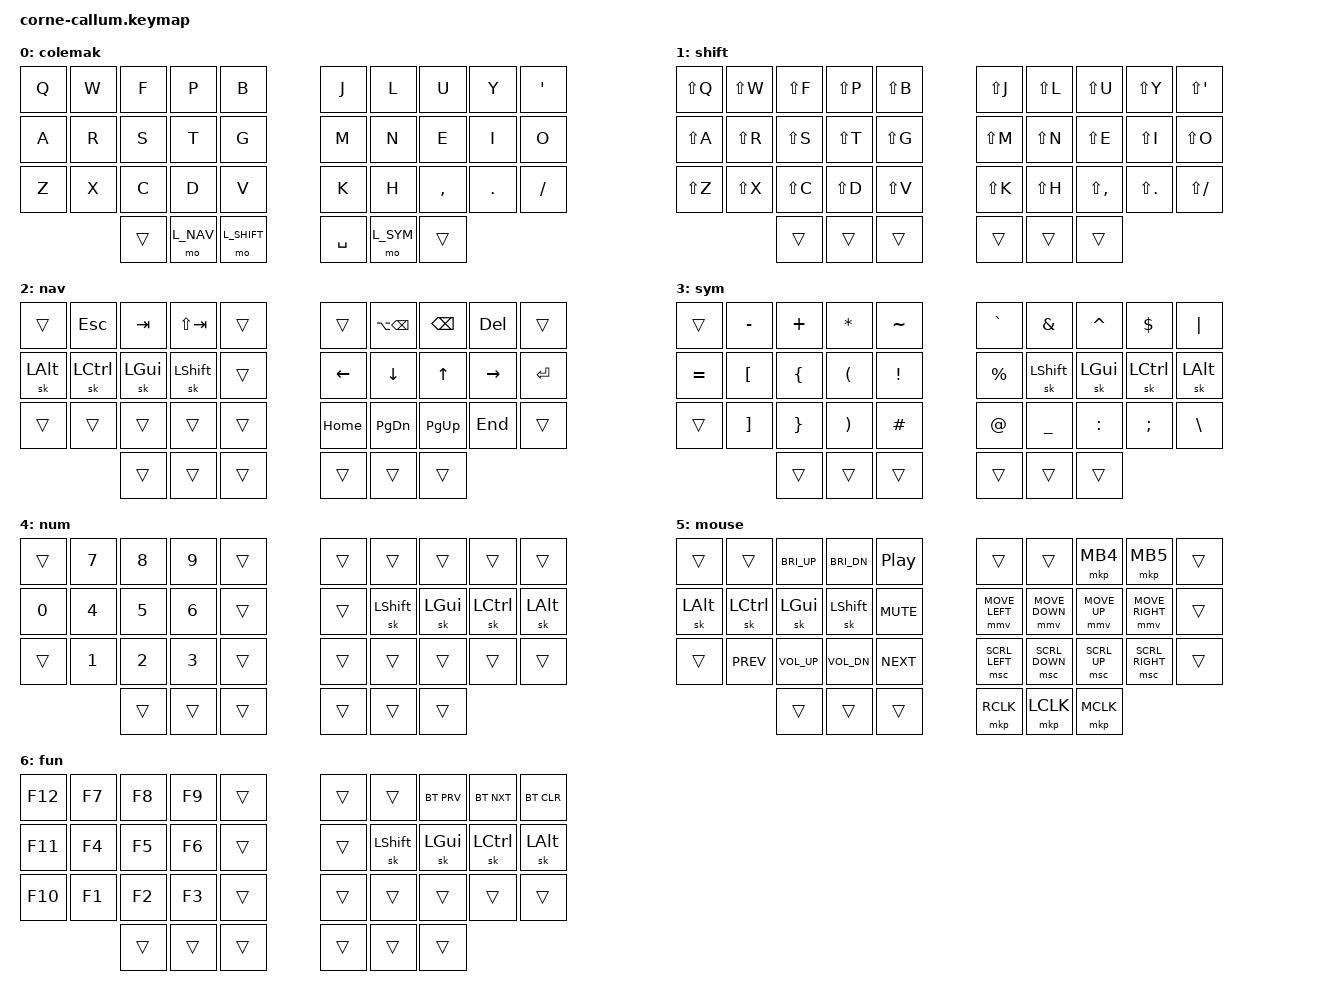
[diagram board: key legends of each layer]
#define ZMK_POINTING_DEFAULT_MOVE_VAL 1500 // 600
#define ZMK_POINTING_DEFAULT_SCRL_VAL 30 // 10

#define ___ &trans

#define L_SHIFT 1
#define L_NAV 2
#define L_SYM 3
#define L_NUM 4
#define L_MOUSE 5
#define L_FUN 6

#include <behaviors.dtsi>
#include <dt-bindings/zmk/keys.h>
#include <dt-bindings/zmk/bt.h>

#include <dt-bindings/zmk/pointing.h>
#include <input/processors.dtsi>

/ {
    chosen {
        zmk,physical-layout = &foostan_corne_5col_layout;
    };

    conditional_layers {
        compatible = "zmk,conditional-layers";
        tri_num {
            if-layers = <L_NAV L_SYM>;
            then-layer = <L_NUM>;
        };
        tri_fun {
            if-layers = <L_SHIFT L_SYM>;
            then-layer = <L_FUN>;
        };
        tri_mouse {
            if-layers = <L_NAV L_SHIFT>;
            then-layer = <L_MOUSE>;
        };
    };

    keymap {
        compatible = "zmk,keymap";

        colemak {
            bindings = <
&kp Q               &kp W               &kp F               &kp P               &kp B               &kp J               &kp L               &kp U               &kp Y               &kp SQT
&kp A               &kp R               &kp S               &kp T               &kp G               &kp M               &kp N               &kp E               &kp I               &kp O
&kp Z               &kp X               &kp C               &kp D               &kp V               &kp K               &kp H               &kp COMMA           &kp DOT             &kp FSLH
                                        ___                 &mo L_NAV           &mo L_SHIFT         &kp SPACE           &mo L_SYM           ___
            >;
        };

        shift {
            bindings = <
&kp LS(Q)           &kp LS(W)           &kp LS(F)           &kp LS(P)           &kp LS(B)           &kp LS(J)           &kp LS(L)           &kp LS(U)           &kp LS(Y)           &kp LS(SQT)
&kp LS(A)           &kp LS(R)           &kp LS(S)           &kp LS(T)           &kp LS(G)           &kp LS(M)           &kp LS(N)           &kp LS(E)           &kp LS(I)           &kp LS(O)
&kp LS(Z)           &kp LS(X)           &kp LS(C)           &kp LS(D)           &kp LS(V)           &kp LS(K)           &kp LS(H)           &kp LS(COMMA)       &kp LS(DOT)         &kp LS(FSLH)
                                        ___                 ___                 ___                 ___                 ___                 ___
            >;
        };

        nav {
            bindings = <
___                 &kp ESC             &kp TAB             &kp LS(TAB)         ___                 ___                 &kp LA(BSPC)        &kp BSPC            &kp DEL             ___
&sk LALT            &sk LCTRL           &sk LGUI            &sk LSHIFT          ___                 &kp LEFT            &kp DOWN            &kp UP              &kp RIGHT           &kp RET
___                 ___                 ___                 ___                 ___                 &kp HOME            &kp PG_DN           &kp PG_UP           &kp END             ___
                                        ___                 ___                 ___                 ___                 ___                 ___
            >;
        };

        sym {
            bindings = <
___                 &kp MINUS           &kp PLUS            &kp STAR            &kp TILDE           &kp GRAVE           &kp AMPS            &kp CARET           &kp DLLR            &kp PIPE
&kp EQUAL           &kp LBKT            &kp LBRC            &kp LPAR            &kp EXCL            &kp PRCNT           &sk LSHIFT          &sk LGUI            &sk LCTRL           &sk LALT
___                 &kp RBKT            &kp RBRC            &kp RPAR            &kp HASH            &kp AT              &kp UNDER           &kp COLON           &kp SEMI            &kp BSLH
                                        ___                 ___                 ___                 ___                 ___                 ___
            >;
        };

        num {
            bindings = <
___                 &kp N7              &kp N8              &kp N9              ___                 ___                 ___                 ___                 ___                 ___
&kp N0              &kp N4              &kp N5              &kp N6              ___                 ___                 &sk LSHIFT          &sk LGUI            &sk LCTRL           &sk LALT
___                 &kp N1              &kp N2              &kp N3              ___                 ___                 ___                 ___                 ___                 ___
                                        ___                 ___                 ___                 ___                 ___                 ___
            >;
        };

        mouse {
            bindings = <
___                 ___                 &kp C_BRI_UP        &kp C_BRI_DN        &kp C_PP            ___                 ___                 &mkp MB4            &mkp MB5            ___
&sk LALT            &sk LCTRL           &sk LGUI            &sk LSHIFT          &kp C_MUTE          &mmv MOVE_LEFT      &mmv MOVE_DOWN      &mmv MOVE_UP        &mmv MOVE_RIGHT     ___
___                 &kp C_PREV          &kp C_VOL_UP        &kp C_VOL_DN        &kp C_NEXT          &msc SCRL_LEFT      &msc SCRL_DOWN      &msc SCRL_UP        &msc SCRL_RIGHT     ___
                                        ___                 ___                 ___                 &mkp RCLK           &mkp LCLK           &mkp MCLK
            >;
        };

        fun {
            bindings = <
&kp F12             &kp F7              &kp F8              &kp F9              ___                 ___                 ___                 &bt BT_PRV          &bt BT_NXT          &bt BT_CLR
&kp F11             &kp F4              &kp F5              &kp F6              ___                 ___                 &sk LSHIFT          &sk LGUI            &sk LCTRL           &sk LALT
&kp F10             &kp F1              &kp F2              &kp F3              ___                 ___                 ___                 ___                 ___                 ___
                                        ___                 ___                 ___                 ___                 ___                 ___
            >;
        };

    };
};
